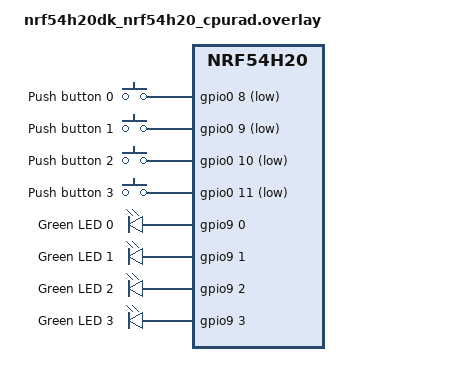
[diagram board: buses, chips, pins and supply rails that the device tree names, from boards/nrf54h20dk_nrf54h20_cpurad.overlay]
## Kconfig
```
#
# Copyright (c) 2018 Nordic Semiconductor
#
# SPDX-License-Identifier: LicenseRef-Nordic-5-Clause
#

source "Kconfig.zephyr"

menu "Nordic UART BLE GATT service sample"

config BT_NUS_THREAD_STACK_SIZE
	int "Thread stack size"
	default 1024
	help
	  Stack size used in each of the two threads

config BT_NUS_UART_BUFFER_SIZE
	int "UART payload buffer element size"
	default 40
	help
	  Size of the payload buffer in each RX and TX FIFO element

config BT_NUS_SECURITY_ENABLED
	bool "Enable security"
	default y
	select BT_SMP
	help
	  "Enable BLE security for the UART service"

config BT_NUS_UART_RX_WAIT_TIME
	int "Timeout for UART RX complete event"
	default 50000
	help
	  Wait for RX complete event time in microseconds

config SETTINGS
	default y

config ZMS
	default y if (SOC_FLASH_NRF_RRAM || SOC_FLASH_NRF_MRAM)

config NVS
	default y if !(SOC_FLASH_NRF_RRAM || SOC_FLASH_NRF_MRAM)

endmenu
```

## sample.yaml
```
sample:
  description: Bluetooth Low Energy UART service sample
  name: Bluetooth LE UART service
tests:
  sample.bluetooth.peripheral_uart:
    sysbuild: true
    platform_allow:
      - nrf52dk/nrf52832
      - nrf52833dk/nrf52833
      - nrf52840dk/nrf52840
      - nrf5340dk/nrf5340/cpuapp
      - nrf5340dk/nrf5340/cpuapp/ns
      - thingy53/nrf5340/cpuapp
      - thingy53/nrf5340/cpuapp/ns
      - nrf21540dk/nrf52840
      - nrf54l15dk/nrf54l05/cpuapp
      - nrf54l15dk/nrf54l10/cpuapp
      - nrf54l15dk/nrf54l15/cpuapp
      - nrf54lm20pdk/nrf54lm20a/cpuapp
      - nrf54lv10dk/nrf54lv10a/cpuapp
      - nrf54h20dk/nrf54h20/cpuapp
      - nrf54h20dk/nrf54h20/cpurad
    integration_platforms:
      - nrf52dk/nrf52832
      - nrf52833dk/nrf52833
      - nrf52840dk/nrf52840
      - nrf5340dk/nrf5340/cpuapp
      - nrf5340dk/nrf5340/cpuapp/ns
      - thingy53/nrf5340/cpuapp
      - thingy53/nrf5340/cpuapp/ns
      - nrf21540dk/nrf52840
      - nrf54l15dk/nrf54l05/cpuapp
      - nrf54l15dk/nrf54l10/cpuapp
      - nrf54l15dk/nrf54l15/cpuapp
      - nrf54lm20pdk/nrf54lm20a/cpuapp
      - nrf54lv10dk/nrf54lv10a/cpuapp
      - nrf54h20dk/nrf54h20/cpuapp
      - nrf54h20dk/nrf54h20/cpurad
    tags:
      - bluetooth
      - ci_build
      - sysbuild
    harness: console
    harness_config:
      type: multi_line
      ordered: true
      regex:
        - "Starting Nordic UART service sample"
  sample.bluetooth.peripheral_uart_cdc:
    sysbuild: true
    build_only: true
    extra_args:
      - OVERLAY_CONFIG=prj_cdc.conf
      - DTC_OVERLAY_FILE="usb.overlay"
    integration_platforms:
      - nrf52840dk/nrf52840
      - nrf52833dk/nrf52833
    platform_allow:
      - nrf52840dk/nrf52840
      - nrf52833dk/nrf52833
    tags:
      - bluetooth
      - ci_build
      - sysbuild
  sample.bluetooth.peripheral_uart_minimal:
    sysbuild: true
    build_only: true
    extra_args: FILE_SUFFIX=minimal
    integration_platforms:
      - nrf52833dk/nrf52820
    platform_allow:
      - nrf52833dk/nrf52820
    tags:
      - bluetooth
      - ci_build
      - sysbuild
  sample.bluetooth.peripheral_uart_ble_rpc:
    sysbuild: true
    build_only: true
    extra_args:
      - SNIPPET=nordic-bt-rpc
      - FILE_SUFFIX=bt_rpc
    integration_platforms:
      - nrf5340dk/nrf5340/cpuapp
      - nrf54h20dk/nrf54h20/cpuapp
    platform_allow:
      - nrf5340dk/nrf5340/cpuapp
      - nrf54h20dk/nrf54h20/cpuapp
    tags:
      - bluetooth
      - ci_build
      - sysbuild
  sample.bluetooth.peripheral_uart.security_disabled:
    sysbuild: true
    build_only: true
    platform_allow:
      - nrf52dk/nrf52832
      - nrf52833dk/nrf52833
      - nrf52840dk/nrf52840
      - nrf5340dk/nrf5340/cpuapp
      - nrf5340dk/nrf5340/cpuapp/ns
      - thingy53/nrf5340/cpuapp
      - thingy53/nrf5340/cpuapp/ns
      - nrf21540dk/nrf52840
    integration_platforms:
      - nrf52840dk/nrf52840
    tags:
      - bluetooth
      - ci_build
      - sysbuild
    extra_configs:
      - CONFIG_BT_NUS_SECURITY_ENABLED=n
```

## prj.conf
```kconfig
#
# Copyright (c) 2018 Nordic Semiconductor
#
# SPDX-License-Identifier: LicenseRef-Nordic-5-Clause
#

# Enable the UART driver
CONFIG_UART_ASYNC_API=y
CONFIG_NRFX_UARTE0=y
CONFIG_SERIAL=y

CONFIG_GPIO=y

# Make sure printk is printing to the UART console
CONFIG_CONSOLE=y
CONFIG_UART_CONSOLE=y

CONFIG_HEAP_MEM_POOL_SIZE=2048

CONFIG_BT=y
CONFIG_BT_PERIPHERAL=y
CONFIG_BT_DEVICE_NAME="Nordic_UART_Service"
CONFIG_BT_MAX_CONN=1
CONFIG_BT_MAX_PAIRED=1

# Enable the NUS service
CONFIG_BT_NUS=y

# Enable bonding
CONFIG_BT_SETTINGS=y
CONFIG_FLASH=y
CONFIG_FLASH_PAGE_LAYOUT=y
CONFIG_FLASH_MAP=y

# Enable DK LED and Buttons library
CONFIG_DK_LIBRARY=y

CONFIG_SYSTEM_WORKQUEUE_STACK_SIZE=2048
# Config logger
CONFIG_LOG=y
CONFIG_USE_SEGGER_RTT=y
CONFIG_LOG_BACKEND_RTT=y
CONFIG_LOG_BACKEND_UART=n
CONFIG_LOG_PRINTK=n

CONFIG_ASSERT=y
```

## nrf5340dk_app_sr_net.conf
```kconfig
#
# Copyright (c) 2022 Nordic Semiconductor
#
# SPDX-License-Identifier: LicenseRef-Nordic-5-Clause
#

CONFIG_BOOTLOADER_MCUBOOT=y
CONFIG_NRF53_UPGRADE_NETWORK_CORE=y
```

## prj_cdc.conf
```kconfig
#
# Copyright (c) 2021 Nordic Semiconductor
#
# SPDX-License-Identifier: LicenseRef-Nordic-5-Clause
#

# Enable the UART driver
CONFIG_UART_LINE_CTRL=y
CONFIG_UART_INTERRUPT_DRIVEN=y
CONFIG_UART_ASYNC_ADAPTER=y
CONFIG_USB_DEVICE_STACK=y
CONFIG_USB_DEVICE_REMOTE_WAKEUP=n
CONFIG_USB_CDC_ACM=y
CONFIG_USB_CDC_ACM_LOG_LEVEL_OFF=y

# Disable the UARTE0 enabled in default project configuration
CONFIG_NRFX_UARTE0=n
CONFIG_UART_NRFX=n
```

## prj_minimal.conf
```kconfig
#
# Copyright (c) 2021 Nordic Semiconductor
#
# SPDX-License-Identifier: LicenseRef-Nordic-5-Clause
#

# Enable the UART driver
CONFIG_UART_ASYNC_API=y
CONFIG_NRFX_UARTE0=y
CONFIG_SERIAL=y

CONFIG_HEAP_MEM_POOL_SIZE=1536

CONFIG_BT=y
CONFIG_BT_PERIPHERAL=y
CONFIG_BT_DEVICE_NAME="Nordic_UART_Service"
CONFIG_BT_DEVICE_APPEARANCE=833
CONFIG_BT_MAX_CONN=1
CONFIG_BT_MAX_PAIRED=1

# Enable the NUS service
CONFIG_BT_NUS=y

# Enable bonding
CONFIG_BT_SETTINGS=y
CONFIG_FLASH=y
CONFIG_FLASH_PAGE_LAYOUT=y
CONFIG_FLASH_MAP=y

# Enable DK LED and Buttons library
CONFIG_DK_LIBRARY=y

# Drivers and peripherals
CONFIG_I2C=n
CONFIG_WATCHDOG=n
CONFIG_SPI=n
CONFIG_GPIO=n

# Power management

# Interrupts
CONFIG_DYNAMIC_INTERRUPTS=n
CONFIG_IRQ_OFFLOAD=n

# Memory protection
CONFIG_THREAD_STACK_INFO=n
CONFIG_THREAD_CUSTOM_DATA=n
CONFIG_FPU=n

# Boot
CONFIG_NCS_BOOT_BANNER=n
CONFIG_BOOT_BANNER=n
CONFIG_BOOT_DELAY=0

# Console
CONFIG_CONSOLE=n
CONFIG_UART_CONSOLE=n
CONFIG_STDOUT_CONSOLE=n
CONFIG_PRINTK=n
CONFIG_EARLY_CONSOLE=n

# Build
CONFIG_SIZE_OPTIMIZATIONS=y

# ARM
CONFIG_ARM_MPU=n

# In order to correctly tune the stack sizes for the threads the following
# Configurations can enabled to print the current use:
#CONFIG_THREAD_NAME=y
#CONFIG_THREAD_ANALYZER=y
#CONFIG_THREAD_ANALYZER_AUTO=y
#CONFIG_THREAD_ANALYZER_RUN_UNLOCKED=y
#CONFIG_THREAD_ANALYZER_USE_PRINTK=y
#CONFIG_CONSOLE=y
#CONFIG_UART_CONSOLE=y
#CONFIG_SERIAL=y
#CONFIG_PRINTK=y

# Example output of thread analyzer
#SDC RX              : unused 800 usage 224 / 1024 (21 %)
#BT ECC              : unused 216 usage 888 / 1104 (80 %)
#BT RX               : unused 1736 usage 464 / 2200 (21 %)
#BT TX               : unused 1008 usage 528 / 1536 (34 %)
#ble_write_thread_id : unused 688 usage 336 / 1024 (32 %)
#sysworkq            : unused 1912 usage 136 / 2048 (6 %)
#MPSL signal         : unused 928 usage 96 / 1024 (9 %)
#idle 00             : unused 224 usage 96 / 320 (30 %)
#main                : unused 568 usage 456 / 1024 (44 %)
CONFIG_BT_RX_STACK_SIZE=1024
CONFIG_BT_HCI_TX_STACK_SIZE_WITH_PROMPT=y
CONFIG_BT_HCI_TX_STACK_SIZE=640
CONFIG_SYSTEM_WORKQUEUE_STACK_SIZE=1536
CONFIG_MPSL_WORK_STACK_SIZE=256
CONFIG_IDLE_STACK_SIZE=128
CONFIG_ISR_STACK_SIZE=1024
CONFIG_BT_NUS_THREAD_STACK_SIZE=512

# Disable features not needed
CONFIG_TIMESLICING=n
CONFIG_COMMON_LIBC_MALLOC=n
CONFIG_LOG=n
CONFIG_LOG_BACKEND_RTT=n
CONFIG_ASSERT=n

# Disable Bluetooth features not needed
CONFIG_BT_DEBUG_NONE=y
CONFIG_BT_ASSERT=n
CONFIG_BT_DATA_LEN_UPDATE=n
CONFIG_BT_PHY_UPDATE=n
CONFIG_BT_GATT_CACHING=n
CONFIG_BT_GATT_SERVICE_CHANGED=n
CONFIG_BT_GAP_PERIPHERAL_PREF_PARAMS=n
CONFIG_BT_SETTINGS_CCC_LAZY_LOADING=y
CONFIG_BT_HCI_VS=n

# Disable Bluetooth controller features not needed
CONFIG_BT_CTLR_PRIVACY=n
CONFIG_BT_CTLR_PHY_2M=n

# Reduce Bluetooth buffers
CONFIG_BT_BUF_EVT_DISCARDABLE_COUNT=1
CONFIG_BT_BUF_EVT_DISCARDABLE_SIZE=43
CONFIG_BT_BUF_EVT_RX_COUNT=4

CONFIG_BT_CONN_TX_MAX=3
CONFIG_BT_L2CAP_TX_BUF_COUNT=2
CONFIG_BT_ATT_TX_COUNT=2
CONFIG_BT_BUF_ACL_TX_COUNT=3
CONFIG_BT_BUF_ACL_TX_SIZE=27
```

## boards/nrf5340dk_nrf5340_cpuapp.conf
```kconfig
#
# Copyright (c) 2025 Nordic Semiconductor
#
# SPDX-License-Identifier: LicenseRef-Nordic-5-Clause
#

# Don't get entropy from HCI on nRF5340 devices
CONFIG_BT_HOST_CRYPTO_PRNG=y
CONFIG_ENTROPY_BT_HCI=n
```

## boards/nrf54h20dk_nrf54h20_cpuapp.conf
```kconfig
#
# Copyright (c) 2024 Nordic Semiconductor
#
# SPDX-License-Identifier: LicenseRef-Nordic-5-Clause
#

# Disable the unspupported UART0 driver
CONFIG_NRFX_UARTE0=n

# Don't get entropy from HCI on nRF54H20 devices
CONFIG_BT_HOST_CRYPTO_PRNG=y
CONFIG_ENTROPY_BT_HCI=n

CONFIG_SOC_NRF54H20_CPURAD_ENABLE=y
```

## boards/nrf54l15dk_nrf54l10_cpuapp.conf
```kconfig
#
# Copyright (c) 2024 Nordic Semiconductor
#
# SPDX-License-Identifier: LicenseRef-Nordic-5-Clause
#

# Disable the unspupported UART0 driver
CONFIG_NRFX_UARTE0=n
```

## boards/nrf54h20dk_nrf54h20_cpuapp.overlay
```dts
/*
 * Copyright (c) 2024 Nordic Semiconductor ASA
 *
 * SPDX-License-Identifier: LicenseRef-Nordic-5-Clause
 */

/ {
	chosen {
		nordic,nus-uart = &uart136;
	};
};
```

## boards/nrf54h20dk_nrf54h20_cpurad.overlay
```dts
/*
 * Copyright (c) 2024 Nordic Semiconductor ASA
 *
 * SPDX-License-Identifier: LicenseRef-Nordic-5-Clause
 */

/ {
	chosen {
		nordic,nus-uart = &uart135;
		zephyr,settings_partition = &cpurad_storage_partition;
	};

	/* LEDs and buttons definitions are required for the DK Buttons and
	 * LEDs module.
	 */

	aliases {
		led0 = &led0;
		led1 = &led1;
		led2 = &led2;
		led3 = &led3;

		sw0 = &button0;
		sw1 = &button1;
		sw2 = &button2;
		sw3 = &button3;
	};

	buttons {
		compatible = "gpio-keys";

		button0: button_0 {
			gpios = <&gpio0 8 (GPIO_PULL_UP | GPIO_ACTIVE_LOW)>;
			label = "Push button 0";
			zephyr,code = <INPUT_KEY_0>;
		};

		button1: button_1 {
			gpios = <&gpio0 9 (GPIO_PULL_UP | GPIO_ACTIVE_LOW)>;
			label = "Push button 1";
			zephyr,code = <INPUT_KEY_1>;
		};

		button2: button_2 {
			gpios = <&gpio0 10 (GPIO_PULL_UP | GPIO_ACTIVE_LOW)>;
			label = "Push button 2";
			zephyr,code = <INPUT_KEY_2>;
		};

		button3: button_3 {
			gpios = <&gpio0 11 (GPIO_PULL_UP | GPIO_ACTIVE_LOW)>;
			label = "Push button 3";
			zephyr,code = <INPUT_KEY_3>;
		};
	};

	leds {
		compatible = "gpio-leds";

		led0: led_0 {
			gpios = <&gpio9 0 GPIO_ACTIVE_HIGH>;
			label = "Green LED 0";
		};

		led1: led_1 {
			gpios = <&gpio9 1 GPIO_ACTIVE_HIGH>;
			label = "Green LED 1";
		};

		led2: led_2 {
			gpios = <&gpio9 2 GPIO_ACTIVE_HIGH>;
			label = "Green LED 2";
		};

		led3: led_3 {
			gpios = <&gpio9 3 GPIO_ACTIVE_HIGH>;
			label = "Green LED 3";
		};
	};
};

&gpio0 {
	status = "okay";
};

&gpio9 {
	status = "okay";
};

&gpiote130 {
	status = "okay";
	owned-channels = <4 5 6 7>;
};

/* Add a read write partition for the settings module.
 *
 * @note In case of running firmware on the application core, the same memory map
 * change must be applied to the application core DTS.
 */
&mram1x {
	partitions {
		/* Note: the location here has been kept the same as before the introduction of
		 * IronSide on nrf54h20, which has brought with it an updated memory map.
		 * It will likely need to be updated as the MRAM memory map is not yet final.
		 */
		cpurad_storage_partition: partition@1e3000 {
			reg = <0x1e3000 DT_SIZE_K(24)>;
		};
	};
};
```

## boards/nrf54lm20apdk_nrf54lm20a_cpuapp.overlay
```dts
/*
 * Copyright (c) 2025 Nordic Semiconductor ASA
 *
 * SPDX-License-Identifier: LicenseRef-Nordic-5-Clause
 */

/ {
	chosen {
		nordic,nus-uart = &uart20;
	};
};
```

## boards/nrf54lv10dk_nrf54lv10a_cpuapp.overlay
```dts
/*
 * Copyright (c) 2025 Nordic Semiconductor ASA
 *
 * SPDX-License-Identifier: LicenseRef-Nordic-5-Clause
 */

/ {
	chosen {
		nordic,nus-uart = &uart30;
	};
};
```

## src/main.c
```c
/*
 * Copyright (c) 2018 Nordic Semiconductor ASA
 *
 * SPDX-License-Identifier: LicenseRef-Nordic-5-Clause
 */

/** @file
 *  @brief Nordic UART Bridge Service (NUS) sample
 */
#include <uart_async_adapter.h>

#include <zephyr/types.h>
#include <zephyr/kernel.h>
#include <zephyr/drivers/uart.h>
#include <zephyr/usb/usb_device.h>

#include <zephyr/device.h>
#include <zephyr/devicetree.h>
#include <soc.h>

#include <zephyr/bluetooth/bluetooth.h>
#include <zephyr/bluetooth/uuid.h>
#include <zephyr/bluetooth/gatt.h>
#include <zephyr/bluetooth/hci.h>

#include <bluetooth/services/nus.h>

#include <dk_buttons_and_leds.h>

#include <zephyr/settings/settings.h>

#include <stdio.h>
#include <string.h>

#include <zephyr/logging/log.h>

#define LOG_MODULE_NAME peripheral_uart
LOG_MODULE_REGISTER(LOG_MODULE_NAME);

#define STACKSIZE CONFIG_BT_NUS_THREAD_STACK_SIZE
#define PRIORITY 7

#define DEVICE_NAME CONFIG_BT_DEVICE_NAME
#define DEVICE_NAME_LEN	(sizeof(DEVICE_NAME) - 1)

#define RUN_STATUS_LED DK_LED1
#define RUN_LED_BLINK_INTERVAL 1000

#define CON_STATUS_LED DK_LED2

#define KEY_PASSKEY_ACCEPT DK_BTN1_MSK
#define KEY_PASSKEY_REJECT DK_BTN2_MSK

#define UART_BUF_SIZE CONFIG_BT_NUS_UART_BUFFER_SIZE
#define UART_WAIT_FOR_BUF_DELAY K_MSEC(50)
#define UART_WAIT_FOR_RX CONFIG_BT_NUS_UART_RX_WAIT_TIME

static K_SEM_DEFINE(ble_init_ok, 0, 1);

static struct bt_conn *current_conn;
static struct bt_conn *auth_conn;
static struct k_work adv_work;

static const struct device *uart = DEVICE_DT_GET(DT_CHOSEN(nordic_nus_uart));
static struct k_work_delayable uart_work;

struct uart_data_t {
	void *fifo_reserved;
	uint8_t data[UART_BUF_SIZE];
	uint16_t len;
};

static K_FIFO_DEFINE(fifo_uart_tx_data);
static K_FIFO_DEFINE(fifo_uart_rx_data);

static const struct bt_data ad[] = {
	BT_DATA_BYTES(BT_DATA_FLAGS, (BT_LE_AD_GENERAL | BT_LE_AD_NO_BREDR)),
	BT_DATA(BT_DATA_NAME_COMPLETE, DEVICE_NAME, DEVICE_NAME_LEN),
};

static const struct bt_data sd[] = {
	BT_DATA_BYTES(BT_DATA_UUID128_ALL, BT_UUID_NUS_VAL),
};

#ifdef CONFIG_UART_ASYNC_ADAPTER
UART_ASYNC_ADAPTER_INST_DEFINE(async_adapter);
#else
#define async_adapter NULL
#endif

static void uart_cb(const struct device *dev, struct uart_event *evt, void *user_data)
{
	ARG_UNUSED(dev);

	static size_t aborted_len;
	struct uart_data_t *buf;
	static uint8_t *aborted_buf;
	static bool disable_req;

	switch (evt->type) {
	case UART_TX_DONE:
		LOG_DBG("UART_TX_DONE");
		if ((evt->data.tx.len == 0) ||
		    (!evt->data.tx.buf)) {
			return;
		}

		if (aborted_buf) {
			buf = CONTAINER_OF(aborted_buf, struct uart_data_t,
					   data[0]);
			aborted_buf = NULL;
			aborted_len = 0;
		} else {
			buf = CONTAINER_OF(evt->data.tx.buf, struct uart_data_t,
					   data[0]);
		}

		k_free(buf);

		buf = k_fifo_get(&fifo_uart_tx_data, K_NO_WAIT);
		if (!buf) {
			return;
		}

		if (uart_tx(uart, buf->data, buf->len, SYS_FOREVER_MS)) {
			LOG_WRN("Failed to send data over UART");
		}

		break;

	case UART_RX_RDY:
		LOG_DBG("UART_RX_RDY");
		buf = CONTAINER_OF(evt->data.rx.buf, struct uart_data_t, data[0]);
		buf->len += evt->data.rx.len;

		if (disable_req) {
			return;
		}

		if ((evt->data.rx.buf[buf->len - 1] == '\n') ||
		    (evt->data.rx.buf[buf->len - 1] == '\r')) {
			disable_req = true;
			uart_rx_disable(uart);
		}

		break;

	case UART_RX_DISABLED:
		LOG_DBG("UART_RX_DISABLED");
		disable_req = false;

		buf = k_malloc(sizeof(*buf));
		if (buf) {
			buf->len = 0;
		} else {
			LOG_WRN("Not able to allocate UART receive buffer");
			k_work_reschedule(&uart_work, UART_WAIT_FOR_BUF_DELAY);
			return;
		}

		uart_rx_enable(uart, buf->data, sizeof(buf->data),
			       UART_WAIT_FOR_RX);

		break;

	case UART_RX_BUF_REQUEST:
		LOG_DBG("UART_RX_BUF_REQUEST");
		buf = k_malloc(sizeof(*buf));
		if (buf) {
			buf->len = 0;
			uart_rx_buf_rsp(uart, buf->data, sizeof(buf->data));
		} else {
			LOG_WRN("Not able to allocate UART receive buffer");
		}

		break;

	case UART_RX_BUF_RELEASED:
		LOG_DBG("UART_RX_BUF_RELEASED");
		buf = CONTAINER_OF(evt->data.rx_buf.buf, struct uart_data_t,
				   data[0]);

		if (buf->len > 0) {
			k_fifo_put(&fifo_uart_rx_data, buf);
		} else {
			k_free(buf);
		}

		break;

	case UART_TX_ABORTED:
		LOG_DBG("UART_TX_ABORTED");
		if (!aborted_buf) {
			aborted_buf = (uint8_t *)evt->data.tx.buf;
		}

		aborted_len += evt->data.tx.len;
		buf = CONTAINER_OF((void *)aborted_buf, struct uart_data_t,
				   data);

		uart_tx(uart, &buf->data[aborted_len],
			buf->len - aborted_len, SYS_FOREVER_MS);

		break;

	default:
		break;
	}
}

static void uart_work_handler(struct k_work *item)
{
	struct uart_data_t *buf;

	buf = k_malloc(sizeof(*buf));
	if (buf) {
		buf->len = 0;
	} else {
		LOG_WRN("Not able to allocate UART receive buffer");
		k_work_reschedule(&uart_work, UART_WAIT_FOR_BUF_DELAY);
		return;
	}

	uart_rx_enable(uart, buf->data, sizeof(buf->data), UART_WAIT_FOR_RX);
}

static bool uart_test_async_api(const struct device *dev)
{
	const struct uart_driver_api *api =
			(const struct uart_driver_api *)dev->api;

	return (api->callback_set != NULL);
}

static int uart_init(void)
{
	int err;
	int pos;
	struct uart_data_t *rx;
	struct uart_data_t *tx;

	if (!device_is_ready(uart)) {
		return -ENODEV;
	}

	if (IS_ENABLED(CONFIG_USB_DEVICE_STACK)) {
		err = usb_enable(NULL);
		if (err && (err != -EALREADY)) {
			LOG_ERR("Failed to enable USB");
			return err;
		}
	}

	rx = k_malloc(sizeof(*rx));
	if (rx) {
		rx->len = 0;
	} else {
		return -ENOMEM;
	}

	k_work_init_delayable(&uart_work, uart_work_handler);


	if (IS_ENABLED(CONFIG_UART_ASYNC_ADAPTER) && !uart_test_async_api(uart)) {
		/* Implement API adapter */
		uart_async_adapter_init(async_adapter, uart);
		uart = async_adapter;
	}

	err = uart_callback_set(uart, uart_cb, NULL);
	if (err) {
		k_free(rx);
		LOG_ERR("Cannot initialize UART callback");
		return err;
	}

	if (IS_ENABLED(CONFIG_UART_LINE_CTRL)) {
		LOG_INF("Wait for DTR");
		while (true) {
			uint32_t dtr = 0;

			uart_line_ctrl_get(uart, UART_LINE_CTRL_DTR, &dtr);
			if (dtr) {
				break;
			}
			/* Give CPU resources to low priority threads. */
			k_sleep(K_MSEC(100));
		}
		LOG_INF("DTR set");
		err = uart_line_ctrl_set(uart, UART_LINE_CTRL_DCD, 1);
		if (err) {
			LOG_WRN("Failed to set DCD, ret code %d", err);
		}
		err = uart_line_ctrl_set(uart, UART_LINE_CTRL_DSR, 1);
		if (err) {
			LOG_WRN("Failed to set DSR, ret code %d", err);
		}
	}

	tx = k_malloc(sizeof(*tx));

	if (tx) {
		pos = snprintf(tx->data, sizeof(tx->data),
			       "Starting Nordic UART service sample\r\n");

		if ((pos < 0) || (pos >= sizeof(tx->data))) {
			k_free(rx);
			k_free(tx);
			LOG_ERR("snprintf returned %d", pos);
			return -ENOMEM;
		}

		tx->len = pos;
	} else {
		k_free(rx);
		return -ENOMEM;
	}

	err = uart_tx(uart, tx->data, tx->len, SYS_FOREVER_MS);
	if (err) {
		k_free(rx);
		k_free(tx);
		LOG_ERR("Cannot display welcome message (err: %d)", err);
		return err;
	}

	err = uart_rx_enable(uart, rx->data, sizeof(rx->data), UART_WAIT_FOR_RX);
	if (err) {
		LOG_ERR("Cannot enable uart reception (err: %d)", err);
		/* Free the rx buffer only because the tx buffer will be handled in the callback */
		k_free(rx);
	}

	return err;
}

static void adv_work_handler(struct k_work *work)
{
	int err = bt_le_adv_start(BT_LE_ADV_CONN_FAST_2, ad, ARRAY_SIZE(ad), sd, ARRAY_SIZE(sd));

	if (err) {
		LOG_ERR("Advertising failed to start (err %d)", err);
		return;
	}

	LOG_INF("Advertising successfully started");
}

static void advertising_start(void)
{
	k_work_submit(&adv_work);
}

static void connected(struct bt_conn *conn, uint8_t err)
{
	char addr[BT_ADDR_LE_STR_LEN];

	if (err) {
		LOG_ERR("Connection failed, err 0x%02x %s", err, bt_hci_err_to_str(err));
		return;
	}

	bt_addr_le_to_str(bt_conn_get_dst(conn), addr, sizeof(addr));
	LOG_INF("Connected %s", addr);

	current_conn = bt_conn_ref(conn);

	dk_set_led_on(CON_STATUS_LED);
}

static void disconnected(struct bt_conn *conn, uint8_t reason)
{
	char addr[BT_ADDR_LE_STR_LEN];

	bt_addr_le_to_str(bt_conn_get_dst(conn), addr, sizeof(addr));

	LOG_INF("Disconnected: %s, reason 0x%02x %s", addr, reason, bt_hci_err_to_str(reason));

	if (auth_conn) {
		bt_conn_unref(auth_conn);
		auth_conn = NULL;
	}

	if (current_conn) {
		bt_conn_unref(current_conn);
		current_conn = NULL;
		dk_set_led_off(CON_STATUS_LED);
	}
}

static void recycled_cb(void)
{
	LOG_INF("Connection object available from previous conn. Disconnect is complete!");
	advertising_start();
}

#ifdef CONFIG_BT_NUS_SECURITY_ENABLED
static void security_changed(struct bt_conn *conn, bt_security_t level,
			     enum bt_security_err err)
{
	char addr[BT_ADDR_LE_STR_LEN];

	bt_addr_le_to_str(bt_conn_get_dst(conn), addr, sizeof(addr));

	if (!err) {
		LOG_INF("Security changed: %s level %u", addr, level);
	} else {
		LOG_WRN("Security failed: %s level %u err %d %s", addr, level, err,
			bt_security_err_to_str(err));
	}
}
#endif

BT_CONN_CB_DEFINE(conn_callbacks) = {
	.connected        = connected,
	.disconnected     = disconnected,
	.recycled         = recycled_cb,
#ifdef CONFIG_BT_NUS_SECURITY_ENABLED
	.security_changed = security_changed,
#endif
};

#if defined(CONFIG_BT_NUS_SECURITY_ENABLED)
static void auth_passkey_display(struct bt_conn *conn, unsigned int passkey)
{
	char addr[BT_ADDR_LE_STR_LEN];

	bt_addr_le_to_str(bt_conn_get_dst(conn), addr, sizeof(addr));

	LOG_INF("Passkey for %s: %06u", addr, passkey);
}

static void auth_passkey_confirm(struct bt_conn *conn, unsigned int passkey)
{
	char addr[BT_ADDR_LE_STR_LEN];

	auth_conn = bt_conn_ref(conn);

	bt_addr_le_to_str(bt_conn_get_dst(conn), addr, sizeof(addr));

	LOG_INF("Passkey for %s: %06u", addr, passkey);

	if (IS_ENABLED(CONFIG_SOC_SERIES_NRF54HX) || IS_ENABLED(CONFIG_SOC_SERIES_NRF54LX)) {
		LOG_INF("Press Button 0 to confirm, Button 1 to reject.");
	} else {
		LOG_INF("Press Button 1 to confirm, Button 2 to reject.");
	}
}


static void auth_cancel(struct bt_conn *conn)
{
	char addr[BT_ADDR_LE_STR_LEN];

	bt_addr_le_to_str(bt_conn_get_dst(conn), addr, sizeof(addr));

	LOG_INF("Pairing cancelled: %s", addr);
}


static void pairing_complete(struct bt_conn *conn, bool bonded)
{
	char addr[BT_ADDR_LE_STR_LEN];

	bt_addr_le_to_str(bt_conn_get_dst(conn), addr, sizeof(addr));

	LOG_INF("Pairing completed: %s, bonded: %d", addr, bonded);
}


static void pairing_failed(struct bt_conn *conn, enum bt_security_err reason)
{
	char addr[BT_ADDR_LE_STR_LEN];

	bt_addr_le_to_str(bt_conn_get_dst(conn), addr, sizeof(addr));

	LOG_INF("Pairing failed conn: %s, reason %d %s", addr, reason,
		bt_security_err_to_str(reason));
}

static struct bt_conn_auth_cb conn_auth_callbacks = {
	.passkey_display = auth_passkey_display,
	.passkey_confirm = auth_passkey_confirm,
	.cancel = auth_cancel,
};

static struct bt_conn_auth_info_cb conn_auth_info_callbacks = {
	.pairing_complete = pairing_complete,
	.pairing_failed = pairing_failed
};
#else
static struct bt_conn_auth_cb conn_auth_callbacks;
static struct bt_conn_auth_info_cb conn_auth_info_callbacks;
#endif

static void bt_receive_cb(struct bt_conn *conn, const uint8_t *const data,
			  uint16_t len)
{
	int err;
	char addr[BT_ADDR_LE_STR_LEN] = {0};

	bt_addr_le_to_str(bt_conn_get_dst(conn), addr, ARRAY_SIZE(addr));

	LOG_INF("Received data from: %s", addr);

	for (uint16_t pos = 0; pos != len;) {
		struct uart_data_t *tx = k_malloc(sizeof(*tx));

		if (!tx) {
			LOG_WRN("Not able to allocate UART send data buffer");
			return;
		}

		/* Keep the last byte of TX buffer for potential LF char. */
		size_t tx_data_size = sizeof(tx->data) - 1;

		if ((len - pos) > tx_data_size) {
			tx->len = tx_data_size;
		} else {
			tx->len = (len - pos);
		}

		memcpy(tx->data, &data[pos], tx->len);

		pos += tx->len;

		/* Append the LF character when the CR character triggered
		 * transmission from the peer.
		 */
		if ((pos == len) && (data[len - 1] == '\r')) {
			tx->data[tx->len] = '\n';
			tx->len++;
		}

		err = uart_tx(uart, tx->data, tx->len, SYS_FOREVER_MS);
		if (err) {
			k_fifo_put(&fifo_uart_tx_data, tx);
		}
	}
}

static struct bt_nus_cb nus_cb = {
	.received = bt_receive_cb,
};

void error(void)
{
	dk_set_leds_state(DK_ALL_LEDS_MSK, DK_NO_LEDS_MSK);

	while (true) {
		/* Spin for ever */
		k_sleep(K_MSEC(1000));
	}
}

#ifdef CONFIG_BT_NUS_SECURITY_ENABLED
static void num_comp_reply(bool accept)
{
	if (accept) {
		bt_conn_auth_passkey_confirm(auth_conn);
		LOG_INF("Numeric Match, conn %p", (void *)auth_conn);
	} else {
		bt_conn_auth_cancel(auth_conn);
		LOG_INF("Numeric Reject, conn %p", (void *)auth_conn);
	}

	bt_conn_unref(auth_conn);
	auth_conn = NULL;
}

void button_changed(uint32_t button_state, uint32_t has_changed)
{
	uint32_t buttons = button_state & has_changed;

	if (auth_conn) {
		if (buttons & KEY_PASSKEY_ACCEPT) {
			num_comp_reply(true);
		}

		if (buttons & KEY_PASSKEY_REJECT) {
			num_comp_reply(false);
		}
	}
}
#endif /* CONFIG_BT_NUS_SECURITY_ENABLED */

static void configure_gpio(void)
{
	int err;

#ifdef CONFIG_BT_NUS_SECURITY_ENABLED
	err = dk_buttons_init(button_changed);
	if (err) {
		LOG_ERR("Cannot init buttons (err: %d)", err);
	}
#endif /* CONFIG_BT_NUS_SECURITY_ENABLED */

	err = dk_leds_init();
	if (err) {
		LOG_ERR("Cannot init LEDs (err: %d)", err);
	}
}

int main(void)
{
	int blink_status = 0;
	int err = 0;

	configure_gpio();

	err = uart_init();
	if (err) {
		error();
	}

	if (IS_ENABLED(CONFIG_BT_NUS_SECURITY_ENABLED)) {
		err = bt_conn_auth_cb_register(&conn_auth_callbacks);
		if (err) {
			LOG_ERR("Failed to register authorization callbacks. (err: %d)", err);
			return 0;
		}

		err = bt_conn_auth_info_cb_register(&conn_auth_info_callbacks);
		if (err) {
			LOG_ERR("Failed to register authorization info callbacks. (err: %d)", err);
			return 0;
		}
	}

	err = bt_enable(NULL);
	if (err) {
		error();
	}

	LOG_INF("Bluetooth initialized");

	k_sem_give(&ble_init_ok);

	if (IS_ENABLED(CONFIG_SETTINGS)) {
		settings_load();
	}

	err = bt_nus_init(&nus_cb);
	if (err) {
		LOG_ERR("Failed to initialize UART service (err: %d)", err);
		return 0;
	}

	k_work_init(&adv_work, adv_work_handler);
	advertising_start();

	for (;;) {
		dk_set_led(RUN_STATUS_LED, (++blink_status) % 2);
		k_sleep(K_MSEC(RUN_LED_BLINK_INTERVAL));
	}
}

void ble_write_thread(void)
{
	/* Don't go any further until BLE is initialized */
	k_sem_take(&ble_init_ok, K_FOREVER);
	struct uart_data_t nus_data = {
		.len = 0,
	};

	for (;;) {
		/* Wait indefinitely for data to be sent over bluetooth */
		struct uart_data_t *buf = k_fifo_get(&fifo_uart_rx_data,
						     K_FOREVER);

		int plen = MIN(sizeof(nus_data.data) - nus_data.len, buf->len);
		int loc = 0;

		while (plen > 0) {
			memcpy(&nus_data.data[nus_data.len], &buf->data[loc], plen);
			nus_data.len += plen;
			loc += plen;

			if (nus_data.len >= sizeof(nus_data.data) ||
			   (nus_data.data[nus_data.len - 1] == '\n') ||
			   (nus_data.data[nus_data.len - 1] == '\r')) {
				if (bt_nus_send(NULL, nus_data.data, nus_data.len)) {
					LOG_WRN("Failed to send data over BLE connection");
				}
				nus_data.len = 0;
			}

			plen = MIN(sizeof(nus_data.data), buf->len - loc);
		}

		k_free(buf);
	}
}

K_THREAD_DEFINE(ble_write_thread_id, STACKSIZE, ble_write_thread, NULL, NULL,
		NULL, PRIORITY, 0, 0);
```
